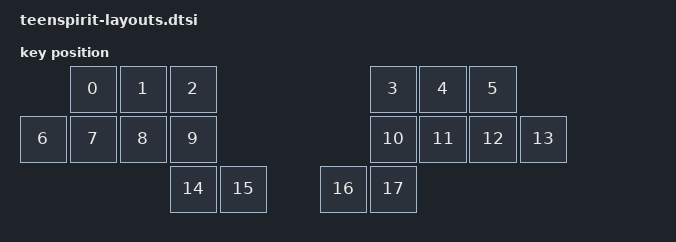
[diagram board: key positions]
#include <physical_layouts.dtsi>

/ {
    physical_layout_teenspirit: physical_layout_teenspirit {
        compatible = "zmk,physical-layout";
        display-name = "teenspirit";
        keys  //                     w   h    x    y     rot    rx    ry
            = <&key_physical_attrs 100 100  100    0       0   100     0>
            , <&key_physical_attrs 100 100  200    0       0   200     0>
            , <&key_physical_attrs 100 100  300    0       0   300     0>
            , <&key_physical_attrs 100 100  700    0       0   700     0>
            , <&key_physical_attrs 100 100  800    0       0   800     0>
            , <&key_physical_attrs 100 100  900    0       0   900     0>
            , <&key_physical_attrs 100 100    0  100       0     0   100>
            , <&key_physical_attrs 100 100  100  100       0   100   100>
            , <&key_physical_attrs 100 100  200  100       0   200   100>
            , <&key_physical_attrs 100 100  300  100       0   300   100>
            , <&key_physical_attrs 100 100  700  100       0   700   100>
            , <&key_physical_attrs 100 100  800  100       0   800   100>
            , <&key_physical_attrs 100 100  900  100       0   900   100>
            , <&key_physical_attrs 100 100 1000  100       0  1000   100>
            , <&key_physical_attrs 100 100  300  200       0   300   200>
            , <&key_physical_attrs 100 100  400  200       0   400   200>
            , <&key_physical_attrs 100 100  600  200       0   600   200>
            , <&key_physical_attrs 100 100  700  200       0   700   200>
            ;
    };
};
